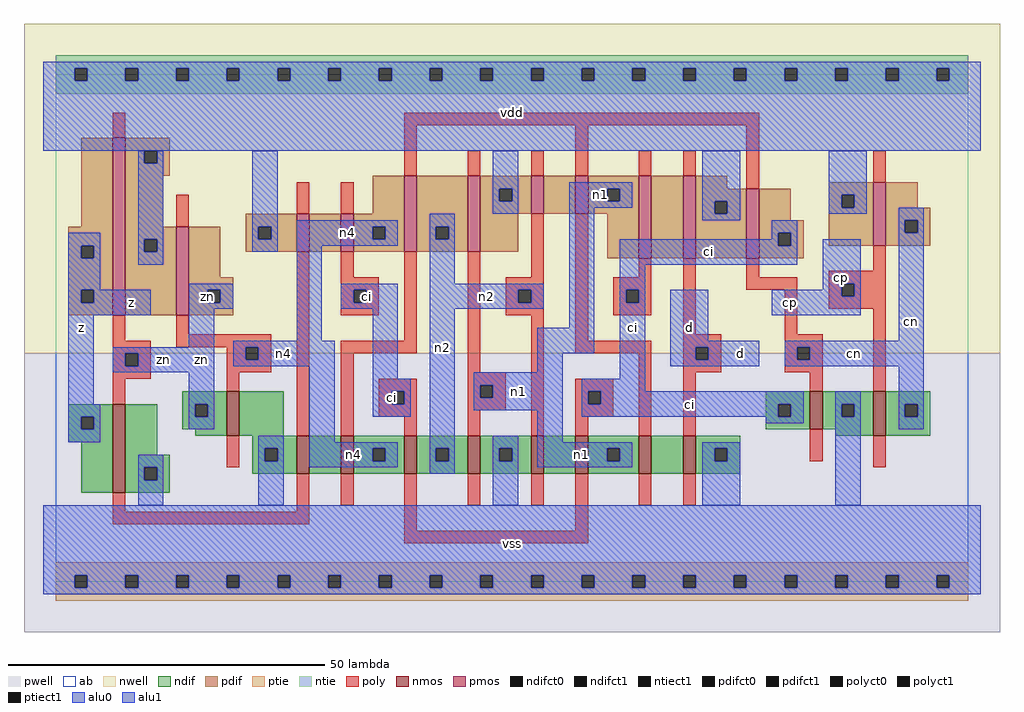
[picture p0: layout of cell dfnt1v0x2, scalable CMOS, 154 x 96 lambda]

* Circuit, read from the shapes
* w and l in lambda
.subckt dfnt1v0x2 ci cn cp d n1 n2 n4 vdd vss z zn
M1 vss zn z vss nfet w=14 l=2
M2 vss n4 zn vss nfet w=7 l=2
M3 n3 zn vss vss nfet w=6 l=2
M4 n4 cn n3 vss nfet w=6 l=2
M5 n2 ci n4 vss nfet w=6 l=2
M6 vss n1 n2 vss nfet w=6 l=2
M7 n5 n2 vss vss nfet w=6 l=2
M8 n1 ci n5 vss nfet w=6 l=2
M9 n6 cn n1 vss nfet w=6 l=2
M10 vss d n6 vss nfet w=6 l=2
M11 vss cn ci vss nfet w=6 l=2
M12 cn cp vss vss nfet w=7 l=2
M13 vdd zn z vdd pfet w=28 l=2
M14 zn n4 vdd vdd pfet w=14 l=2
M15 n7 zn vdd vdd pfet w=6 l=2
M16 n4 ci n7 vdd pfet w=6 l=2
M17 n2 cn n4 vdd pfet w=12 l=2
M18 vdd n1 n2 vdd pfet w=12 l=2
M19 n8 n2 vdd vdd pfet w=6 l=2
M20 n1 cn n8 vdd pfet w=6 l=2
M21 n9 ci n1 vdd pfet w=13 l=2
M22 vdd d n9 vdd pfet w=13 l=2
M23 ci cn vdd vdd pfet w=11 l=2
M24 cn cp vdd vdd pfet w=10 l=2
.ends

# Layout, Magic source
magic
tech scmos
<< ab >>
rect 0 0 144 80
<< nwell >>
rect -5 36 149 88
<< pwell >>
rect -5 -8 149 36
<< poly >>
rect 9 70 11 74
rect 55 72 111 74
rect 55 64 57 72
rect 65 64 67 68
rect 75 64 77 68
rect 82 64 84 72
rect 92 64 94 68
rect 99 64 101 68
rect 19 56 21 61
rect 38 58 40 63
rect 45 58 47 63
rect 9 38 11 42
rect 19 39 21 42
rect 9 36 15 38
rect 19 37 34 39
rect 9 34 11 36
rect 13 34 15 36
rect 9 32 15 34
rect 27 35 30 37
rect 32 35 34 37
rect 27 33 34 35
rect 9 28 11 32
rect 27 30 29 33
rect 38 23 40 52
rect 45 48 47 52
rect 45 46 51 48
rect 45 44 47 46
rect 49 44 51 46
rect 45 42 51 44
rect 55 38 57 52
rect 45 36 57 38
rect 45 23 47 36
rect 65 33 67 52
rect 75 48 77 58
rect 71 46 77 48
rect 71 44 73 46
rect 75 44 77 46
rect 71 42 77 44
rect 51 30 57 32
rect 51 28 53 30
rect 55 28 57 30
rect 51 26 57 28
rect 55 23 57 26
rect 65 31 71 33
rect 65 29 67 31
rect 69 29 71 31
rect 65 27 71 29
rect 65 23 67 27
rect 75 23 77 42
rect 82 38 84 58
rect 109 62 111 72
rect 129 63 131 68
rect 92 48 94 51
rect 88 46 94 48
rect 88 44 90 46
rect 92 44 94 46
rect 88 42 94 44
rect 99 39 101 51
rect 109 48 111 51
rect 129 49 131 53
rect 109 46 117 48
rect 115 39 117 46
rect 122 47 131 49
rect 122 45 124 47
rect 126 45 131 47
rect 122 43 131 45
rect 82 36 94 38
rect 82 30 88 32
rect 82 28 84 30
rect 86 28 88 30
rect 82 26 88 28
rect 82 23 84 26
rect 92 23 94 36
rect 99 37 105 39
rect 99 35 101 37
rect 103 35 105 37
rect 99 33 105 35
rect 115 37 121 39
rect 115 35 117 37
rect 119 35 121 37
rect 115 33 121 35
rect 99 23 101 33
rect 119 30 121 33
rect 129 30 131 43
rect 27 18 29 23
rect 119 19 121 24
rect 129 18 131 23
rect 9 11 11 14
rect 38 11 40 17
rect 45 12 47 17
rect 9 9 40 11
rect 55 8 57 17
rect 65 12 67 17
rect 75 12 77 17
rect 82 8 84 17
rect 92 12 94 17
rect 99 12 101 17
rect 55 6 84 8
<< ndif >>
rect 20 28 27 30
rect 2 26 9 28
rect 2 24 4 26
rect 6 24 9 26
rect 2 22 9 24
rect 4 14 9 22
rect 11 20 16 28
rect 20 26 22 28
rect 24 26 27 28
rect 20 24 27 26
rect 22 23 27 24
rect 29 23 36 30
rect 112 28 119 30
rect 112 26 114 28
rect 116 26 119 28
rect 112 24 119 26
rect 121 28 129 30
rect 121 26 124 28
rect 126 26 129 28
rect 121 24 129 26
rect 11 18 18 20
rect 31 21 38 23
rect 31 19 33 21
rect 35 19 38 21
rect 11 16 14 18
rect 16 16 18 18
rect 31 17 38 19
rect 40 17 45 23
rect 47 21 55 23
rect 47 19 50 21
rect 52 19 55 21
rect 47 17 55 19
rect 57 21 65 23
rect 57 19 60 21
rect 62 19 65 21
rect 57 17 65 19
rect 67 21 75 23
rect 67 19 70 21
rect 72 19 75 21
rect 67 17 75 19
rect 77 17 82 23
rect 84 21 92 23
rect 84 19 87 21
rect 89 19 92 21
rect 84 17 92 19
rect 94 17 99 23
rect 101 21 108 23
rect 101 19 104 21
rect 106 19 108 21
rect 123 23 129 24
rect 131 28 138 30
rect 131 26 134 28
rect 136 26 138 28
rect 131 23 138 26
rect 101 17 108 19
rect 11 14 18 16
<< pdif >>
rect 4 56 9 70
rect 2 53 9 56
rect 2 51 4 53
rect 6 51 9 53
rect 2 46 9 51
rect 2 44 4 46
rect 6 44 9 46
rect 2 42 9 44
rect 11 68 18 70
rect 11 66 14 68
rect 16 66 18 68
rect 11 64 18 66
rect 11 56 17 64
rect 50 58 55 64
rect 30 56 38 58
rect 11 54 19 56
rect 11 52 14 54
rect 16 52 19 54
rect 11 42 19 52
rect 21 48 26 56
rect 30 54 32 56
rect 34 54 38 56
rect 30 52 38 54
rect 40 52 45 58
rect 47 56 55 58
rect 47 54 50 56
rect 52 54 55 56
rect 47 52 55 54
rect 57 56 65 64
rect 57 54 60 56
rect 62 54 65 56
rect 57 52 65 54
rect 67 62 75 64
rect 67 60 70 62
rect 72 60 75 62
rect 67 58 75 60
rect 77 58 82 64
rect 84 62 92 64
rect 84 60 87 62
rect 89 60 92 62
rect 84 58 92 60
rect 67 52 73 58
rect 21 46 28 48
rect 21 44 24 46
rect 26 44 28 46
rect 21 42 28 44
rect 87 51 92 58
rect 94 51 99 64
rect 101 62 106 64
rect 101 60 109 62
rect 101 58 104 60
rect 106 58 109 60
rect 101 51 109 58
rect 111 57 116 62
rect 122 61 129 63
rect 122 59 124 61
rect 126 59 129 61
rect 111 55 118 57
rect 111 53 114 55
rect 116 53 118 55
rect 122 53 129 59
rect 131 59 136 63
rect 131 57 138 59
rect 131 55 134 57
rect 136 55 138 57
rect 131 53 138 55
rect 111 51 118 53
<< alu1 >>
rect -2 81 146 82
rect -2 79 3 81
rect 5 79 11 81
rect 13 79 19 81
rect 21 79 27 81
rect 29 79 35 81
rect 37 79 43 81
rect 45 79 51 81
rect 53 79 59 81
rect 61 79 67 81
rect 69 79 75 81
rect 77 79 83 81
rect 85 79 91 81
rect 93 79 99 81
rect 101 79 107 81
rect 109 79 115 81
rect 117 79 123 81
rect 125 79 131 81
rect 133 79 139 81
rect 141 79 146 81
rect -2 68 146 79
rect 2 53 7 55
rect 2 51 4 53
rect 6 51 7 53
rect 2 46 7 51
rect 2 44 4 46
rect 6 44 15 46
rect 2 42 15 44
rect 2 28 6 42
rect 2 26 7 28
rect 2 24 4 26
rect 6 24 7 26
rect 2 22 7 24
rect 121 47 127 54
rect 121 46 124 47
rect 97 38 103 46
rect 113 45 124 46
rect 126 45 127 47
rect 113 42 127 45
rect 97 37 111 38
rect 97 35 101 37
rect 103 35 111 37
rect 97 34 111 35
rect -2 1 146 12
rect -2 -1 3 1
rect 5 -1 11 1
rect 13 -1 19 1
rect 21 -1 27 1
rect 29 -1 35 1
rect 37 -1 43 1
rect 45 -1 51 1
rect 53 -1 59 1
rect 61 -1 67 1
rect 69 -1 75 1
rect 77 -1 83 1
rect 85 -1 91 1
rect 93 -1 99 1
rect 101 -1 107 1
rect 109 -1 115 1
rect 117 -1 123 1
rect 125 -1 131 1
rect 133 -1 139 1
rect 141 -1 146 1
rect -2 -2 146 -1
<< ptie >>
rect 0 1 144 3
rect 0 -1 3 1
rect 5 -1 11 1
rect 13 -1 19 1
rect 21 -1 27 1
rect 29 -1 35 1
rect 37 -1 43 1
rect 45 -1 51 1
rect 53 -1 59 1
rect 61 -1 67 1
rect 69 -1 75 1
rect 77 -1 83 1
rect 85 -1 91 1
rect 93 -1 99 1
rect 101 -1 107 1
rect 109 -1 115 1
rect 117 -1 123 1
rect 125 -1 131 1
rect 133 -1 139 1
rect 141 -1 144 1
rect 0 -3 144 -1
<< ntie >>
rect 0 81 144 83
rect 0 79 3 81
rect 5 79 11 81
rect 13 79 19 81
rect 21 79 27 81
rect 29 79 35 81
rect 37 79 43 81
rect 45 79 51 81
rect 53 79 59 81
rect 61 79 67 81
rect 69 79 75 81
rect 77 79 83 81
rect 85 79 91 81
rect 93 79 99 81
rect 101 79 107 81
rect 109 79 115 81
rect 117 79 123 81
rect 125 79 131 81
rect 133 79 139 81
rect 141 79 144 81
rect 0 77 144 79
<< nmos >>
rect 9 14 11 28
rect 27 23 29 30
rect 119 24 121 30
rect 38 17 40 23
rect 45 17 47 23
rect 55 17 57 23
rect 65 17 67 23
rect 75 17 77 23
rect 82 17 84 23
rect 92 17 94 23
rect 99 17 101 23
rect 129 23 131 30
<< pmos >>
rect 9 42 11 70
rect 19 42 21 56
rect 38 52 40 58
rect 45 52 47 58
rect 55 52 57 64
rect 65 52 67 64
rect 75 58 77 64
rect 82 58 84 64
rect 92 51 94 64
rect 99 51 101 64
rect 109 51 111 62
rect 129 53 131 63
<< polyct0 >>
rect 11 34 13 36
rect 30 35 32 37
rect 47 44 49 46
rect 73 44 75 46
rect 53 28 55 30
rect 67 29 69 31
rect 90 44 92 46
rect 84 28 86 30
rect 117 35 119 37
<< polyct1 >>
rect 124 45 126 47
rect 101 35 103 37
<< ndifct0 >>
rect 22 26 24 28
rect 114 26 116 28
rect 124 26 126 28
rect 33 19 35 21
rect 14 16 16 18
rect 50 19 52 21
rect 60 19 62 21
rect 70 19 72 21
rect 87 19 89 21
rect 104 19 106 21
rect 134 26 136 28
<< ndifct1 >>
rect 4 24 6 26
<< ntiect1 >>
rect 3 79 5 81
rect 11 79 13 81
rect 19 79 21 81
rect 27 79 29 81
rect 35 79 37 81
rect 43 79 45 81
rect 51 79 53 81
rect 59 79 61 81
rect 67 79 69 81
rect 75 79 77 81
rect 83 79 85 81
rect 91 79 93 81
rect 99 79 101 81
rect 107 79 109 81
rect 115 79 117 81
rect 123 79 125 81
rect 131 79 133 81
rect 139 79 141 81
<< ptiect1 >>
rect 3 -1 5 1
rect 11 -1 13 1
rect 19 -1 21 1
rect 27 -1 29 1
rect 35 -1 37 1
rect 43 -1 45 1
rect 51 -1 53 1
rect 59 -1 61 1
rect 67 -1 69 1
rect 75 -1 77 1
rect 83 -1 85 1
rect 91 -1 93 1
rect 99 -1 101 1
rect 107 -1 109 1
rect 115 -1 117 1
rect 123 -1 125 1
rect 131 -1 133 1
rect 139 -1 141 1
<< pdifct0 >>
rect 14 66 16 68
rect 14 52 16 54
rect 32 54 34 56
rect 50 54 52 56
rect 60 54 62 56
rect 70 60 72 62
rect 87 60 89 62
rect 24 44 26 46
rect 104 58 106 60
rect 124 59 126 61
rect 114 53 116 55
rect 134 55 136 57
<< pdifct1 >>
rect 4 51 6 53
rect 4 44 6 46
<< alu0 >>
rect 13 66 14 68
rect 16 66 17 68
rect 13 54 17 66
rect 13 52 14 54
rect 16 52 17 54
rect 31 56 35 68
rect 69 62 73 68
rect 69 60 70 62
rect 72 60 73 62
rect 69 58 73 60
rect 81 62 91 63
rect 81 60 87 62
rect 89 60 91 62
rect 81 59 91 60
rect 102 60 108 68
rect 31 54 32 56
rect 34 54 35 56
rect 31 52 35 54
rect 38 56 54 57
rect 38 54 50 56
rect 52 54 54 56
rect 38 53 54 54
rect 59 56 63 58
rect 59 54 60 56
rect 62 54 63 56
rect 13 50 17 52
rect 21 46 28 47
rect 21 44 24 46
rect 26 44 28 46
rect 21 43 28 44
rect 21 37 25 43
rect 38 38 42 53
rect 59 47 63 54
rect 45 46 54 47
rect 45 44 47 46
rect 49 44 54 46
rect 45 43 54 44
rect 9 36 25 37
rect 9 34 11 36
rect 13 34 25 36
rect 28 37 44 38
rect 28 35 30 37
rect 32 35 44 37
rect 28 34 44 35
rect 9 33 25 34
rect 21 28 25 33
rect 21 26 22 28
rect 24 26 25 28
rect 21 24 25 26
rect 32 21 36 23
rect 13 18 17 20
rect 13 16 14 18
rect 16 16 17 18
rect 13 12 17 16
rect 32 19 33 21
rect 35 19 36 21
rect 32 12 36 19
rect 40 22 44 34
rect 50 32 54 43
rect 59 46 77 47
rect 59 44 73 46
rect 75 44 77 46
rect 59 43 77 44
rect 50 30 56 32
rect 50 28 53 30
rect 55 28 56 30
rect 50 26 56 28
rect 40 21 54 22
rect 40 19 50 21
rect 52 19 54 21
rect 40 18 54 19
rect 59 21 63 43
rect 81 40 85 59
rect 102 58 104 60
rect 106 58 108 60
rect 122 61 128 68
rect 122 59 124 61
rect 126 59 128 61
rect 122 58 128 59
rect 102 57 108 58
rect 133 57 137 59
rect 113 55 117 57
rect 113 54 114 55
rect 76 36 85 40
rect 89 53 114 54
rect 116 53 117 55
rect 133 55 134 57
rect 136 55 137 57
rect 89 50 117 53
rect 89 46 93 50
rect 89 44 90 46
rect 92 44 93 46
rect 76 33 80 36
rect 66 31 80 33
rect 89 32 93 44
rect 133 38 137 55
rect 115 37 137 38
rect 115 35 117 37
rect 119 35 137 37
rect 115 34 137 35
rect 66 29 67 31
rect 69 29 80 31
rect 66 27 80 29
rect 59 19 60 21
rect 62 19 63 21
rect 59 17 63 19
rect 69 21 73 23
rect 69 19 70 21
rect 72 19 73 21
rect 69 12 73 19
rect 76 22 80 27
rect 83 30 93 32
rect 83 28 84 30
rect 86 28 118 30
rect 83 26 114 28
rect 116 26 118 28
rect 112 25 118 26
rect 123 28 127 30
rect 123 26 124 28
rect 126 26 127 28
rect 76 21 91 22
rect 76 19 87 21
rect 89 19 91 21
rect 76 18 91 19
rect 102 21 108 22
rect 102 19 104 21
rect 106 19 108 21
rect 102 12 108 19
rect 123 12 127 26
rect 133 28 137 34
rect 133 26 134 28
rect 136 26 137 28
rect 133 24 137 26
<< labels >>
rlabel alu0 23 35 23 35 6 zn
rlabel alu0 17 35 17 35 6 zn
rlabel alu0 24 45 24 45 6 zn
rlabel alu0 47 20 47 20 6 n4
rlabel alu0 53 29 53 29 6 ci
rlabel alu0 36 36 36 36 6 n4
rlabel alu0 49 45 49 45 6 ci
rlabel alu0 46 55 46 55 6 n4
rlabel alu0 73 30 73 30 6 n1
rlabel alu0 68 45 68 45 6 n2
rlabel alu0 61 37 61 37 6 n2
rlabel alu0 83 20 83 20 6 n1
rlabel alu0 91 40 91 40 6 ci
rlabel alu0 86 61 86 61 6 n1
rlabel alu0 100 28 100 28 6 ci
rlabel alu0 126 36 126 36 6 cn
rlabel alu0 103 52 103 52 6 ci
rlabel alu0 135 41 135 41 6 cn
rlabel alu1 12 44 12 44 6 z
rlabel alu1 4 40 4 40 6 z
rlabel alu1 72 6 72 6 6 vss
rlabel alu1 100 40 100 40 6 d
rlabel alu1 72 74 72 74 6 vdd
rlabel alu1 108 36 108 36 6 d
rlabel alu1 116 44 116 44 6 cp
rlabel alu1 124 48 124 48 6 cp
<< end >>
